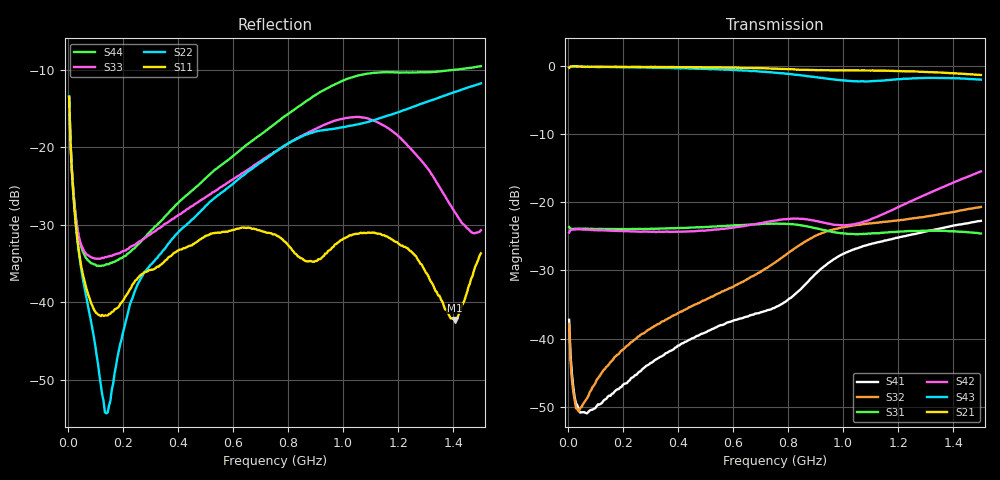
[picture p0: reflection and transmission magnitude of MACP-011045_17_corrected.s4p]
!Agilent Technologies,E5071B,JP1KK00267,A.09.10
!Date: Fri Sep 22 11:03:05 2017
!Data & Calibration Information:
!Freq	S11:SOLT4(ON)	S12:SOLT4(ON)	S13:SOLT4(ON)	S14:SOLT4(ON)
!	S21:SOLT4(ON)	S22:SOLT4(ON)	S23:SOLT4(ON)	S24:SOLT4(ON)
!	S31:SOLT4(ON)	S32:SOLT4(ON)	S33:SOLT4(ON)	S34:SOLT4(ON)
!	S41:SOLT4(ON)	S42:SOLT4(ON)	S43:SOLT4(ON)	S44:SOLT4(ON)
! "David Morgan-soldered to Test PCB SM1, calibration OSLT PCB 1000029771 Edge launch SMA connectors, port 1-pin1,port 2-pin6,port 3-pin4, port 4-pin3 ENA E5071B"
! Created with skrf 1.8.0 (http://scikit-rf.org).
# Hz S RI R 50.0
!freq ReS11 ImS11 ReS12 ImS12 ReS13 ImS13
! ReS14 ImS14
! ReS21 ImS21 ReS22 ImS22 ReS23 ImS23
! ReS24 ImS24
! ReS31 ImS31 ReS32 ImS32 ReS33 ImS33
! ReS34 ImS34
! ReS41 ImS41 ReS42 ImS42 ReS43 ImS43
! ReS44 ImS44
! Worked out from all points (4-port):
!   300 points, 5 MHz to 1.5 GHz, reference 50 ohm
!   strongest paths, dB at 5 MHz, 380 MHz, 755 MHz, 1.13 GHz, 1.5 GHz:
!     S21: -0.2, -0.1, -0.4, -0.7, -1.3
!     S43: -0.2, -0.3, -1.0, -2.2, -2.0
!     S42: -24.4, -24.3, -22.7, -22.0, -15.5
!     S31: -23.6, -23.8, -23.1, -24.5, -24.6
!     S32: -37.8, -36.7, -28.8, -23.0, -20.7
!     S41: -37.2, -41.7, -35.4, -25.8, -22.7
!   lowest |S11| = -42.3 dB at 1.405 GHz (marker M1), VSWR 1.02, Z = 49.6 + j0.646 ohm
!   |S11| at or under -10 dB: start of sweep to end of sweep
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5000000  -0.0479 0.2055  0.9516 0.2032  -0.0656 -0.000977  -0.00779 0.0114
         0.9516 0.2029  -0.0444 0.208  -0.00365 0.0122  0.0546 0.0254
         -0.0658 -0.00104  -0.0037 0.0123  -0.0465 0.2063  0.9504 0.2023
         -0.00781 0.0113  0.0545 0.0253  0.9514 0.2023  -0.0454 0.2091
5e7  -0.00681 0.0152  0.9893 -0.0131  -0.0636 0.00706  -0.00235 0.00149
     0.9906 -0.0119  -0.0027 0.0157  0.00112 0.00297  0.0632 0.00316
     -0.0636 0.00714  0.00117 0.00291  -0.00611 0.0224  0.9908 -0.0226
     -0.00236 0.00164  0.0631 0.00324  0.9881 -0.0221  -0.00359 0.0222
1.4e8  -0.00818 -0.000834  0.9863 -0.0743  -0.0604 0.0198  -0.00314 0.00183
       0.9859 -0.072  -0.0018 -0.000668  0.0018 0.00585  0.0621 0.00349
       -0.0605 0.0199  0.00179 0.00593  -0.00311 0.0193  0.9817 -0.1008
       -0.00313 0.00179  0.0621 0.0034  0.9791 -0.0991  0.000789 0.0176
5.15e8  -0.0174 -0.0211  0.9337 -0.287  -0.0285 0.0594  -0.00415 0.0108
        0.9324 -0.2901  0.0227 -0.0381  0.00572 0.019  0.0598 0.0184
        -0.0285 0.0598  0.00577 0.019  0.0343 0.0358  0.8795 -0.3667
        -0.00417 0.0107  0.0596 0.0183  0.8763 -0.3638  0.0652 0.0144
1.055e9  -0.0131 -0.0244  0.7657 -0.5248  0.0392 0.0433  0.00963 0.0451
         0.7677 -0.5238  0.0406 -0.1349  0.0522 0.044  0.0554 0.0431
         0.0392 0.0431  0.0522 0.044  0.107 -0.1151  0.5876 -0.499
         0.00933 0.0453  0.0553 0.0432  0.5872 -0.5019  0.2109 -0.2008
1.405e9  -0.00407 0.00651  0.5999 -0.647  0.0613 0.00294  0.0583 0.0336
         0.6014 -0.6494  0.0625 -0.2189  0.0826 0.0219  0.0881 0.1096
         0.0612 0.00258  0.0827 0.0214  0.0002 -0.0382  0.5053 -0.6351
         0.0585 0.0343  0.0883 0.1102  0.5076 -0.6366  0.1157 -0.2952
1.5e9  0.0131 0.016  0.5468 -0.6607  0.0574 -0.0147  0.0699 0.0202
       0.5476 -0.6643  0.0585 -0.2521  0.092 0.0125  0.1113 0.1261
       0.0572 -0.0148  0.0917 0.0121  0.0216 -0.0196  0.4428 -0.6577
       0.0701 0.0208  0.1116 0.1265  0.4458 -0.6591  0.1064 -0.3168
